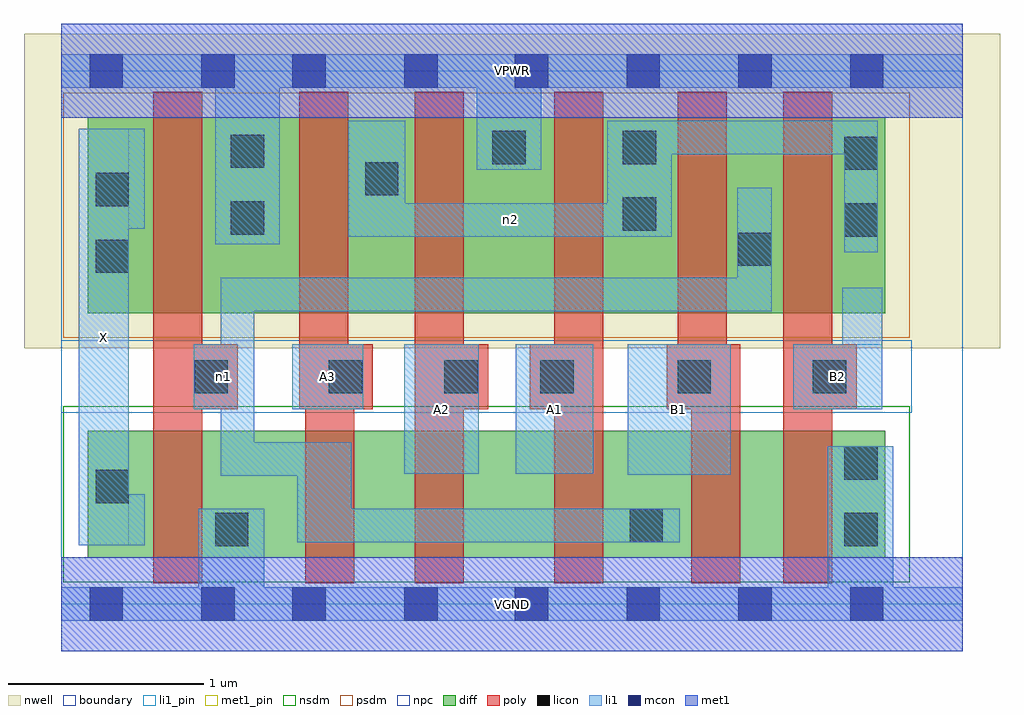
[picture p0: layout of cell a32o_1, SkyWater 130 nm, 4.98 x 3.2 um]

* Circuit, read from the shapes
.subckt a32o_1 A1 A2 A3 B1 B2 VGND VPWR X n1 n2
XM1 VGND n1 X VSUBS sky130_fd_pr__nfet_01v8 w=0.65 l=0.25
XM2 n3 A3 VGND VSUBS sky130_fd_pr__nfet_01v8 w=0.65 l=0.25
XM3 n4 A2 n3 VSUBS sky130_fd_pr__nfet_01v8 w=0.65 l=0.25
XM4 n1 A1 n4 VSUBS sky130_fd_pr__nfet_01v8 w=0.65 l=0.25
XM5 n5 B1 n1 VSUBS sky130_fd_pr__nfet_01v8 w=0.65 l=0.25
XM6 VGND B2 n5 VSUBS sky130_fd_pr__nfet_01v8 w=0.65 l=0.25
XM7 VPWR n1 X n6 sky130_fd_pr__pfet_01v8 w=1 l=0.25
XM8 n2 A3 VPWR n6 sky130_fd_pr__pfet_01v8 w=1 l=0.25
XM9 VPWR A2 n2 n6 sky130_fd_pr__pfet_01v8 w=1 l=0.25
XM10 n2 A1 VPWR n6 sky130_fd_pr__pfet_01v8 w=1 l=0.25
XM11 n1 B1 n2 n6 sky130_fd_pr__pfet_01v8 w=1 l=0.25
XM12 n2 B2 n1 n6 sky130_fd_pr__pfet_01v8 w=1 l=0.25
.ends

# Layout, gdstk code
import gdstk
lib = gdstk.Library(unit=1e-6, precision=1e-09)
def R(c, l, rs):  # rectangles x0, y0, x1, y1
    for r in rs: c.add(gdstk.rectangle(r[:2], r[2:], *l))
def A(c, l, x, y, w, h, nx, ny, dx, dy):  # array of equal rectangles
    R(c, l, [(x+i*dx, y+j*dy, x+i*dx+w, y+j*dy+h) for i in range(nx) for j in range(ny)])
nwell = (64, 20)
diff = (65, 20)
poly = (66, 20)
licon = (66, 44)
li1_pin = (67, 16)
li1 = (67, 20)
mcon = (67, 44)
met1_pin = (68, 16)
met1 = (68, 20)
nsdm = (93, 44)
psdm = (94, 20)
npc = (95, 20)
boundary = (235, 4)

a32o_1 = lib.new_cell('a32o_1')
R(a32o_1, nwell, [(-0.19,1.305,4.79,2.91), (0,1.305,4.6,2.91)])
R(a32o_1, diff, [(0.135,0.235,4.205,0.885), (0.135,1.485,4.205,2.485)])
R(a32o_1, poly, [(0.47,0.105,0.72,2.615), (1.245,0.105,1.495,1.325), (1.805,0.105,2.055,2.615), (2.515,0.105,2.765,2.615), (3.215,0.105,3.465,1.325), (3.685,0.105,3.935,2.615), (0.47,0.995,0.9,1.325), (1.215,0.995,1.465,2.615), (1.215,0.995,1.59,1.325), (1.805,0.995,2.18,1.325), (2.39,0.995,2.765,1.325), (3.09,0.995,3.465,1.325), (3.145,0.995,3.395,2.615), (3.685,0.995,4.06,1.325)])
R(a32o_1, licon, [(0.785,0.295,0.955,0.465), (3.995,0.295,4.165,0.465), (2.9,0.315,3.07,0.485), (0.175,0.515,0.345,0.685), (3.995,0.635,4.165,0.805), (0.68,1.075,0.85,1.245), (1.365,1.075,1.535,1.245), (1.955,1.075,2.125,1.245), (2.445,1.075,2.615,1.245), (3.145,1.075,3.315,1.245), (3.835,1.075,4.005,1.245), (0.175,1.69,0.345,1.86), (3.455,1.725,3.625,1.895), (3.995,1.875,4.165,2.045), (0.865,1.885,1.035,2.055), (2.865,1.905,3.035,2.075), (0.175,2.03,0.345,2.2), (1.55,2.085,1.72,2.255), (3.995,2.215,4.165,2.385), (0.865,2.225,1.035,2.395), (2.2,2.245,2.37,2.415), (2.865,2.245,3.035,2.415)])
R(a32o_1, li1_pin, [(0.09,0.3,0.345,2.425), (2.89,0.66,3.415,1.325), (1.75,0.665,2.13,1.325), (2.32,0.665,2.715,1.325), (1.18,0.995,1.54,1.325), (3.735,0.995,4.19,1.325)])
R(a32o_1, li1, [(0,-0.085,4.6,0.085), (0.7,-0.085,1.035,0.485), (3.91,-0.085,4.245,0.805), (0.09,0.3,0.345,2.425), (0.09,0.3,0.425,0.56), (1.205,0.315,3.155,0.485), (1.205,0.315,1.48,0.825), (0.815,0.655,0.985,1.665), (0.815,0.655,1.48,0.825), (2.89,0.66,3.415,1.325), (1.75,0.665,2.13,1.325), (2.32,0.665,2.715,1.325), (0.675,0.995,0.985,1.325), (1.18,0.995,1.54,1.325), (3.735,0.995,4.19,1.325), (3.985,0.995,4.19,1.615), (0.815,1.495,3.625,1.665), (3.45,1.495,3.625,2.125), (3.995,1.795,4.165,2.465), (0.785,1.835,1.115,2.805), (1.465,1.875,3.115,2.045), (1.465,1.875,1.755,2.465), (2.785,1.875,3.115,2.465), (0.09,1.915,0.425,2.425), (2.12,2.215,2.45,2.805), (2.785,2.295,4.165,2.465), (0,2.635,4.6,2.805)])
A(a32o_1, mcon, 2.315, -0.085, 0.17, 0.17, 4, 2, 0.57, 2.72)
R(a32o_1, mcon, [(0.145,-0.085,0.315,0.085), (0.715,-0.085,0.885,0.085), (1.18,-0.085,1.35,0.085), (1.75,-0.085,1.92,0.085), (0.145,2.635,0.315,2.805), (0.715,2.635,0.885,2.805), (1.18,2.635,1.35,2.805), (1.75,2.635,1.92,2.805)])
R(a32o_1, met1_pin, [(0,-0.24,4.6,0.24), (0,2.48,4.6,2.96)])
R(a32o_1, met1, [(0,-0.24,4.6,0.24), (0,2.48,4.6,2.96)])
R(a32o_1, nsdm, [(0.01,0.11,4.33,1.01)])
R(a32o_1, psdm, [(0.01,1.36,4.33,2.61)])
R(a32o_1, npc, [(0,0.975,4.34,1.345)])
R(a32o_1, boundary, [(0,0,4.6,2.72)])
a32o_1.add(gdstk.Label('A1', (2.517,0.995), layer=67, texttype=5))
a32o_1.add(gdstk.Label('A2', (1.94,0.995), layer=67, texttype=5))
a32o_1.add(gdstk.Label('A3', (1.36,1.16), layer=67, texttype=5))
a32o_1.add(gdstk.Label('B1', (3.152,0.992), layer=67, texttype=5))
a32o_1.add(gdstk.Label('B2', (3.962,1.16), layer=67, texttype=5))
a32o_1.add(gdstk.Label('X', (0.217,1.362), layer=67, texttype=5))
a32o_1.add(gdstk.Label('n1', (0.83,1.16), layer=67, texttype=5))
a32o_1.add(gdstk.Label('n2', (2.29,1.96), layer=67, texttype=5))
a32o_1.add(gdstk.Label('VPWR', (2.3,2.72), layer=68, texttype=5))
a32o_1.add(gdstk.Label('VGND', (2.3,0), layer=68, texttype=5))
a32o_1.add(gdstk.Label('A1', (2.517,0.995), layer=67, texttype=16))
a32o_1.add(gdstk.Label('A2', (1.94,0.995), layer=67, texttype=16))
a32o_1.add(gdstk.Label('A3', (1.36,1.16), layer=67, texttype=16))
a32o_1.add(gdstk.Label('B1', (3.152,0.992), layer=67, texttype=16))
a32o_1.add(gdstk.Label('B2', (3.962,1.16), layer=67, texttype=16))
a32o_1.add(gdstk.Label('X', (0.217,1.362), layer=67, texttype=16))
a32o_1.add(gdstk.Label('VPWR', (2.3,2.72), layer=68, texttype=16))
a32o_1.add(gdstk.Label('VGND', (2.3,0), layer=68, texttype=16))

lib.write_gds('a32o_1.gds')
